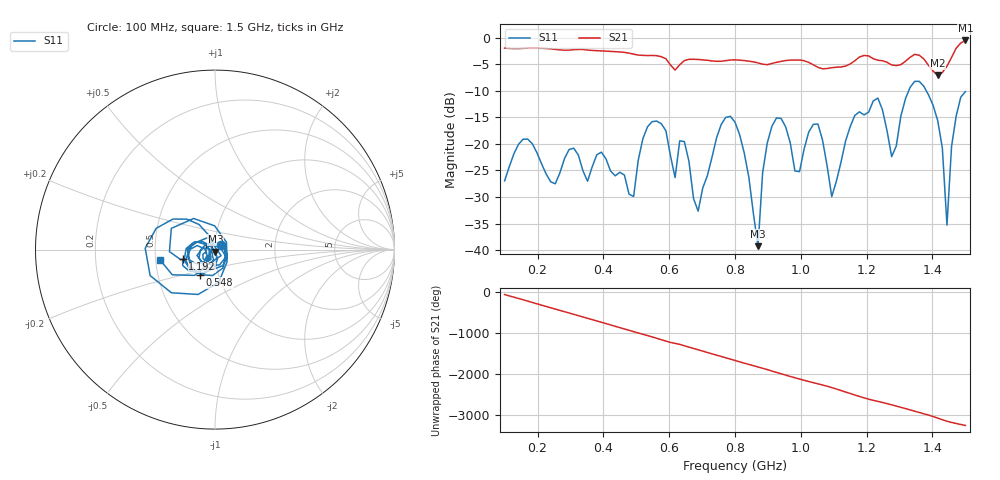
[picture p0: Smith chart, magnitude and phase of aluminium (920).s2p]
! NanoVNA-App
! Date: 2025-09-25 15:02:26
! Start: 100MHz Stop: 1,5GHz Points: 101
! S-Parameter data: F S11 S21 S12 S22
# Hz S RI R 50
!  Frequency  S11_Real  S11_Imag  S21_Real  S21_Imag  S12_Real  S12_Imag  S22_Real  S22_Imag
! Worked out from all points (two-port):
!   101 points, 100 MHz to 1.5 GHz, reference 50 ohm
!   highest |S21| = -0.49 dB at 1.5 GHz (marker M1); lowest = -7.1 dB at 1.416 GHz (marker M2)
!   |S21| within 3 dB of the highest: start of sweep to 571.4 MHz; 1.46 GHz to end of sweep (the widest 2 of 4)
!   lowest |S11| = -39.3 dB at 870 MHz (marker M3), VSWR 1.02, Z = 50.2 - j1.07 ohm
!   |S11| at or under -10 dB: start of sweep to 1.328 GHz; 1.381 GHz to end of sweep
!   S12 and S22 are empty: the file has one direction only
!   S11 on the Smith chart (normalised r, x): 100 MHz: 1.07, +0.06; 548 MHz: 0.82, -0.24; 1.192 GHz: 0.69, -0.08; 1.5 GHz: 0.53, -0.07
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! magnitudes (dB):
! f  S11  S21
! 100 MHz  -27.0  -1.9
! 156 MHz  -19.1  -2.0
! 338 MHz  -25.0  -2.2
! 492 MHz  -29.9  -3.1
! 548 MHz  -15.8  -3.3
! 576 MHz  -16.2  -3.5
! 646 MHz  -19.5  -4.3
! 688 MHz  -32.7  -4.1
! 800 MHz  -15.9  -4.1
! 870 MHz  -39.3  -4.7
! 912 MHz  -16.7  -4.8
! 996 MHz  -25.2  -4.2
! 1.038 GHz  -16.3  -5.1
! 1.094 GHz  -29.9  -5.6
! 1.192 GHz  -14.5  -3.3
! 1.234 GHz  -11.4  -4.2
! 1.276 GHz  -22.4  -5.1
! 1.346 GHz  -8.2  -3.1
! 1.416 GHz  -15.6  -7.1
! 1.444 GHz  -35.3  -5.3
! 1.458 GHz  -20.4  -3.7
! 1.5 GHz  -10.1  -0.5
